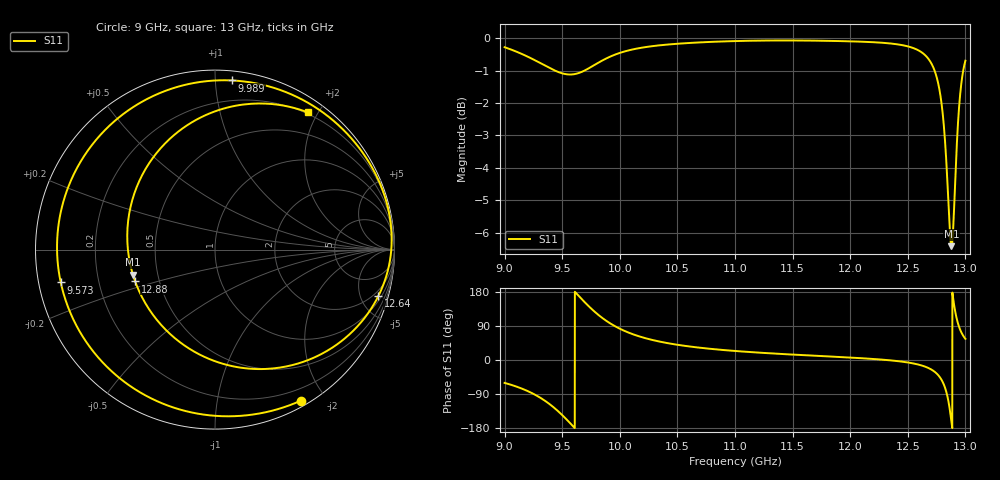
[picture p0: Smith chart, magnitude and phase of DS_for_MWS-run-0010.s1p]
! TOUCHSTONE file generated by CST DESIGN STUDIO
! Date and time: Tue Feb  4 14:17:37 2025
! Project name: C:\Work\MatlabApps\UnitCellOptimizationMatlab\CST\unitcell.cst
! Tree item: Tasks\Sweep1\SPara1\S-Parameters
! Header version: 2024
! Port assignment regex: !\s*Touchstone port\s*([0-9]+)\s*=\s*(CST MWS port|CST DES external port|CST DES block port)\s*(.+)\s* \(\"(.*)\"\)(\s*mode\s*([0-9]+))?.*
! Touchstone port assignment:
! Touchstone port 1 = CST DES external port 1 ("")
# GHz S MA R 50
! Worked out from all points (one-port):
!   4001 points, 9 GHz to 13 GHz, reference 50 ohm
!   lowest |S11| = -6.4 dB at 12.88 GHz (marker M1), VSWR 2.83, Z = 18 - j6.51 ohm
!   |S11| at or under -10 dB: nowhere
!   S11 on the Smith chart (normalised r, x): 9 GHz: 0.06, -1.72; 9.573 GHz: 0.07, -0.10; 9.989 GHz: 0.06, +1.10; 12.64 GHz: 1.39, -6.86; 12.88 GHz: 0.36, -0.17; 13 GHz: 0.18, +1.87
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9  0.9679 -60.4
9.158  0.9436 -76.5
9.309  0.9153 -99.5
9.409  0.8959 -120.8
9.5  0.8824 -145.3
9.573  0.8787 -168.0
9.67  0.887 160.5
9.784  0.9098 126.7
9.877  0.9291 104.6
9.989  0.9472 84.2
10  0.9486 82.6
10.215  0.9679 58.2
10.5  0.9799 40.2
11  0.9893 23.8
11.5  0.9914 14.3
12  0.9884 6.4
12.5  0.9709 -6.5
12.636  0.946 -16.0
12.75  0.8713 -35.5
12.787  0.8073 -49.4
12.819  0.7108 -69.5
12.849  0.5749 -103.1
12.877  0.4789 -158.3
12.879  0.4782 -163.0
12.903  0.5529 143.2
12.934  0.731 98.2
12.971  0.8682 69.2
13  0.9228 55.9
